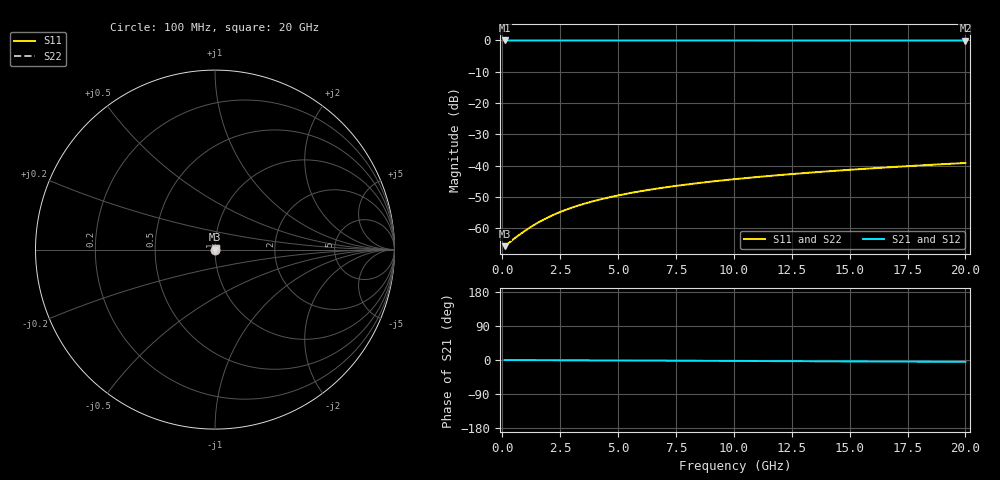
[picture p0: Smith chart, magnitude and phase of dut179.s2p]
! Touchstone file exported from HFSS 2026.1.0
!  File:  C:/ffzhzh/LocalFiles/Ansys_Project_Files/temp_train_TSV_179_1782991248_6248.aedt
!  Generated:  07:22:38 PM Jul  2, 2026
!  Design:  TSV
!  Project:  temp_train_TSV_179_1782991248_6248
! Variables:
!  h_bsmrdl = 2um
!  h_ox = 20um
!  h_rdl = 5um
!  h_sub = 50.28um
!  h_tmrdl = 5um
!  h_tsv = 50.28um
!  h_via = 3um
!  l_bsmrdl = 300um
!  l_sub = 407um
!  l_tmrdl = 200um
!  m_sub = 200um
!  pitch = 16.68um
!  r_tsv = 3.5um
!  s_tmrdl = 10um
!  w_bsmrdl = 18um
!  w_sub = 500um
!  w_tmrdl = 12um
!  x_tsv_center1 = 206um
!  x_tsv_center2 = 524um
!  x_tsv_center3 = 736um
!  x_tsv_center4 = 1054um
!  x_tsv_center5 = 1266um
!  x_tsv_center6 = 1584um
# GHz S MA R 50.000000
! Terminal data exported
! Port[1] = TSV1_1_T1
! Port[2] = TSV1_1_T2
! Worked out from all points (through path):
!   200 points, 100 MHz to 20 GHz, reference 50 ohm
!   highest |S21| = 0.00 dB at 100 MHz (marker M1); lowest = 0.0 dB at 20 GHz (marker M2)
!   lowest |S11| = -65.8 dB at 100 MHz (marker M3), VSWR 1.00, Z = 50.1 + j0.00882 ohm
!   |S11| at or under -10 dB: start of sweep to end of sweep
!   |S22| runs from -65.8 to -39.2 dB; largest |S21 - S12| = 3.2e-15
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0.1  0.0005156 9.8  0.9995 -0.0  0.9995 -0.0  0.0005156 9.8
! Gamma 0 0 0 0
! Port Impedance 50 0 50 0
0.2  0.0005484 18.0  0.9995 -0.1  0.9995 -0.1  0.0005484 18.0
0.4  0.000631 29.4  0.9995 -0.1  0.9995 -0.1  0.000631 29.4
0.6  0.0007193 37.8  0.9994 -0.2  0.9994 -0.2  0.0007193 37.8
1  0.0009181 49.6  0.9994 -0.3  0.9994 -0.3  0.0009181 49.6
1.4  0.001142 57.2  0.9994 -0.4  0.9994 -0.4  0.001142 57.2
1.7  0.001321 61.0  0.9994 -0.4  0.9994 -0.4  0.001321 61.0
2.1  0.001565 64.6  0.9993 -0.5  0.9993 -0.5  0.001565 64.6
2.5  0.001814 67.0  0.9993 -0.6  0.9993 -0.6  0.001814 67.0
3  0.002125 69.1  0.9993 -0.8  0.9993 -0.8  0.002125 69.1
3.5  0.002434 70.4  0.9992 -0.9  0.9992 -0.9  0.002434 70.4
4.2  0.00286 71.6  0.9991 -1.1  0.9991 -1.1  0.00286 71.6
5  0.003335 72.4  0.9991 -1.2  0.9991 -1.2  0.003335 72.4
5.9  0.003854 72.9  0.999 -1.5  0.999 -1.5  0.003854 72.9
6.8  0.004358 73.2  0.9989 -1.7  0.9989 -1.7  0.004358 73.2
8.3  0.005168 73.6  0.9987 -2.1  0.9987 -2.1  0.005168 73.6
10.1  0.006106 73.8  0.9985 -2.5  0.9985 -2.5  0.006106 73.8
11.7  0.00692 74.0  0.9984 -2.9  0.9984 -2.9  0.00692 74.0
13.4  0.007772 74.2  0.9983 -3.3  0.9983 -3.3  0.007772 74.2
15  0.008566 74.3  0.9982 -3.7  0.9982 -3.7  0.008566 74.3
16.7  0.009404 74.3  0.9981 -4.1  0.9981 -4.1  0.009404 74.3
20  0.01102 74.3  0.9979 -4.9  0.9979 -4.9  0.01102 74.3
